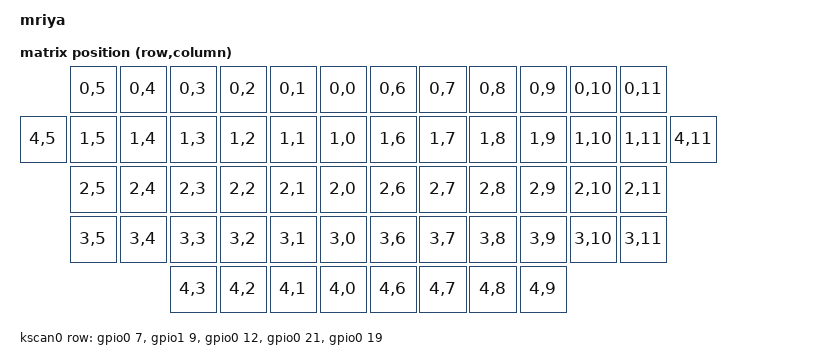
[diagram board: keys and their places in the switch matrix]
/*
 * Copyright (c) 2023 Andrei Gaevskii
 *
 * SPDX-License-Identifier: MIT
 */

/dts-v1/;
#include <nordic/nrf52840_qiaa.dtsi>
#include <common/nordic/nrf52840_uf2_boot_mode.dtsi>

#include <dt-bindings/zmk/matrix_transform.h>
#include <physical_layouts.dtsi>


/ {
	model = "mriya";
	compatible = "mriya";

	chosen {
		zephyr,code-partition = &code_partition;
		zephyr,sram = &sram0;
		zephyr,flash = &flash0;
		zmk,kscan = &kscan0;
		zmk,physical-layout = &physical_layout0;
		zmk,battery = &vbatt;
		zmk,studio-rpc-uart = &cdc_acm_uart;
	};

	physical_layout0: physical_layout_0 {
		compatible = "zmk,physical-layout";
		display-name = "Default";
		transform = <&default_transform>;
		kscan = <&kscan0>;
		keys  /* w    h    x    y    rx   ry   r  */
			= <100  100  100   75    0    0   0>   /* 0,5  */
			, <100  100  200   63    0    0   0>   /* 0,4  */
			, <100  100  300   25    0    0   0>   /* 0,3  */
			, <100  100  400    0    0    0   0>   /* 0,2  */
			, <100  100  500   25    0    0   0>   /* 0,1  */
			, <100  100  600   38    0    0   0>   /* 0,0  */
			, <100  100 1200   38    0    0   0>   /* 0,6  */
			, <100  100 1300   25    0    0   0>   /* 0,7  */
			, <100  100 1400    0    0    0   0>   /* 0,8  */
			, <100  100 1500   25    0    0   0>   /* 0,9  */
			, <100  100 1600   63    0    0   0>   /* 0,10 */
			, <100  100 1700   75    0    0   0>   /* 0,11 */
			, <100  100    0  250    0    0   0>   /* 4,5  */
			, <100  100  100  175    0    0   0>   /* 1,5  */
			, <100  100  200  163    0    0   0>   /* 1,4  */
			, <100  100  300  125    0    0   0>   /* 1,3  */
			, <100  100  400  100    0    0   0>   /* 1,2  */
			, <100  100  500  125    0    0   0>   /* 1,1  */
			, <100  100  600  138    0    0   0>   /* 1,0  */
			, <100  100 1200  138    0    0   0>   /* 1,6  */
			, <100  100 1300  125    0    0   0>   /* 1,7  */
			, <100  100 1400  100    0    0   0>   /* 1,8  */
			, <100  100 1500  125    0    0   0>   /* 1,9  */
			, <100  100 1600  163    0    0   0>   /* 1,10 */
			, <100  100 1700  175    0    0   0>   /* 1,11 */
			, <100  100 1800  250    0    0   0>   /* 4,11 */
			, <100  100  100  275    0    0   0>   /* 2,5  */
			, <100  100  200  263    0    0   0>   /* 2,4  */
			, <100  100  300  225    0    0   0>   /* 2,3  */
			, <100  100  400  200    0    0   0>   /* 2,2  */
			, <100  100  500  225    0    0   0>   /* 2,1  */
			, <100  100  600  238    0    0   0>   /* 2,0  */
			, <100  100 1200  238    0    0   0>   /* 2,6  */
			, <100  100 1300  225    0    0   0>   /* 2,7  */
			, <100  100 1400  200    0    0   0>   /* 2,8  */
			, <100  100 1500  225    0    0   0>   /* 2,9  */
			, <100  100 1600  263    0    0   0>   /* 2,10 */
			, <100  100 1700  275    0    0   0>   /* 2,11 */
			, <100  100  100  375    0    0   0>   /* 3,5  */
			, <100  100  200  363    0    0   0>   /* 3,4  */
			, <100  100  300  325    0    0   0>   /* 3,3  */
			, <100  100  400  300    0    0   0>   /* 3,2  */
			, <100  100  500  325    0    0   0>   /* 3,1  */
			, <100  100  600  338    0    0   0>   /* 3,0  */
			, <100  100 1200  338    0    0   0>   /* 3,6  */
			, <100  100 1300  325    0    0   0>   /* 3,7  */
			, <100  100 1400  300    0    0   0>   /* 3,8  */
			, <100  100 1500  325    0    0   0>   /* 3,9  */
			, <100  100 1600  363    0    0   0>   /* 3,10 */
			, <100  100 1700  375    0    0   0>   /* 3,11 */
			, <100  100  375  435  475  535 (-1200)>  /* 4,3  */
			, <100  100  475  435    0    0   0>      /* 4,2  */
			, <100  100  600  438  600  438 1500>     /* 4,1  */
			, <100  100  670  460  670  560 3000>     /* 4,0  */
			, <100  100 1130  460 1230  560 (-3000)>  /* 4,6  */
			, <100  100 1200  438 1300  438 (-1500)>  /* 4,7  */
			, <100  100 1323  435    0    0   0>      /* 4,8  */
			, <100  100 1423  435 1423  535 1200>     /* 4,9  */
			;
	};

	default_transform: keymap_transform_0 {
		compatible = "zmk,matrix-transform";
		columns = <12>;
		rows = <5>;
		map = <
					RC(0,5) RC(0,4) RC(0,3) RC(0,2) RC(0,1) RC(0,0)  RC(0,6) RC(0,7) RC(0,8) RC(0,9) RC(0,10) RC(0,11)
            RC(4,5) RC(1,5) RC(1,4) RC(1,3) RC(1,2) RC(1,1) RC(1,0)  RC(1,6) RC(1,7) RC(1,8) RC(1,9) RC(1,10) RC(1,11) RC(4,11)
                    RC(2,5) RC(2,4) RC(2,3) RC(2,2) RC(2,1) RC(2,0)  RC(2,6) RC(2,7) RC(2,8) RC(2,9) RC(2,10) RC(2,11)
                    RC(3,5) RC(3,4) RC(3,3) RC(3,2) RC(3,1) RC(3,0)  RC(3,6) RC(3,7) RC(3,8) RC(3,9) RC(3,10) RC(3,11)
                                    RC(4,3) RC(4,2) RC(4,1) RC(4,0)  RC(4,6) RC(4,7) RC(4,8) RC(4,9)
		>;
	};

	kscan0: kscan {
		compatible = "zmk,kscan-gpio-matrix";

		wakeup-source;

		diode-direction = "col2row";
		row-gpios
			= <&gpio0  7 (GPIO_ACTIVE_HIGH | GPIO_PULL_DOWN)>
			, <&gpio1  9 (GPIO_ACTIVE_HIGH | GPIO_PULL_DOWN)>
			, <&gpio0 12 (GPIO_ACTIVE_HIGH | GPIO_PULL_DOWN)>
			, <&gpio0 21 (GPIO_ACTIVE_HIGH | GPIO_PULL_DOWN)>
			, <&gpio0 19 (GPIO_ACTIVE_HIGH | GPIO_PULL_DOWN)>
			;
	};

	leds {
		compatible = "gpio-leds";
		blue_led: led_0 {
			gpios = <&gpio0 23 GPIO_ACTIVE_HIGH>;
		};
	};

	vbatt: vbatt {
		compatible = "zmk,battery-voltage-divider";
		io-channels = <&adc 0>;
		output-ohms = <2000000>;
		full-ohms = <(2000000 + 806000)>;
	};

};


&adc {
	status = "okay";
};

&gpiote {
	status = "okay";
};

&gpio0 {
	status = "okay";
};

&gpio1 {
	status = "okay";
};

zephyr_udc0: &usbd {
	status = "okay";
	cdc_acm_uart: cdc_acm_uart {
		compatible = "zephyr,cdc-acm-uart";
	};
};

&flash0 {
	/*
	 * For more information, see:
	 * http://docs.zephyrproject.org/latest/devices/dts/flash_partitions.html
	 */
	partitions {
		compatible = "fixed-partitions";
		#address-cells = <1>;
		#size-cells = <1>;

		sd_partition: partition@0 {
			reg = <0x00000000 0x00026000>;
		};
		code_partition: partition@26000 {
			reg = <0x00026000 0x000c6000>;
		};

		/*
		 * The flash starting at 0x000ec000 and ending at
		 * 0x000f3fff is reserved for use by the application.
		 */

		/*
		 * Storage partition will be used by FCB/LittleFS/NVS
		 * if enabled.
		 */
		storage_partition: partition@ec000 {
			reg = <0x000ec000 0x00008000>;
		};

		boot_partition: partition@f4000 {
			reg = <0x000f4000 0x0000c000>;
		};
	};
};
